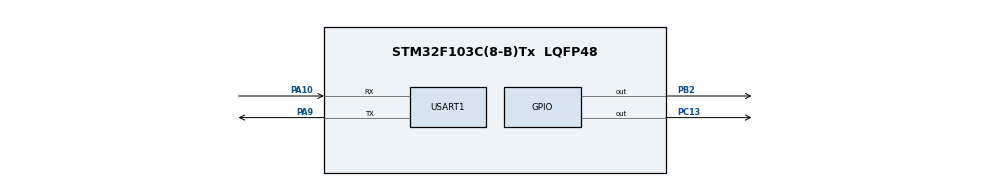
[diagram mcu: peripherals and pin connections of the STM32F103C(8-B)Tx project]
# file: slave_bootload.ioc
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Mcu.Family=STM32F1
Mcu.Name=STM32F103C(8-B)Tx
Mcu.Package=LQFP48
NVIC.PriorityGroup=NVIC_PRIORITYGROUP_4
NVIC.USART1_IRQn=true\:0\:0\:false\:false\:true\:true\:true\:true
PA10.Mode=Asynchronous
PA10.Signal=USART1_RX
PA13.Mode=Serial_Wire
PA13.Signal=SYS_JTMS-SWDIO
PA14.Mode=Serial_Wire
PA14.Signal=SYS_JTCK-SWCLK
PA9.Mode=Asynchronous
PA9.Signal=USART1_TX
PB2.Signal=GPIO_Output
PC13-TAMPER-RTC.Signal=GPIO_Output
PD0-OSC_IN.Mode=HSE-External-Oscillator
PD0-OSC_IN.Signal=RCC_OSC_IN
PD1-OSC_OUT.Mode=HSE-External-Oscillator
PD1-OSC_OUT.Signal=RCC_OSC_OUT
ProjectManager.HeapSize=0x200
ProjectManager.StackSize=0x400
ProjectManager.TargetToolchain=STM32CubeIDE
RCC.APB1Freq_Value=8000000
RCC.APB2Freq_Value=8000000
USART1.VirtualMode=VM_ASYNC
board=custom

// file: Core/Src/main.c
/* USER CODE BEGIN Header */
/**
  ******************************************************************************
  * @file           : main.c
  * @brief          : Main program body
  ******************************************************************************
  */
/* USER CODE END Header */

#include "main.h"

UART_HandleTypeDef huart1;

/* USER CODE BEGIN PV */
volatile uint8_t rx_byte = 0;           // ✅ 1 байт для приёма команды
volatile uint8_t cmd_received = 0;      // ✅ Флаг: команда получена

// ✅ Колбэк: вызывается при завершении приёма 1 байта
void HAL_UART_RxCpltCallback(UART_HandleTypeDef *huart){
    if(huart->Instance == USART1){
        cmd_received = 1;  // Сигнал главному циклу
        // ⚠️ Переармивание делаем в main(), а не здесь!
    }
}

// ✅ Чтение из Flash (безопасное)
void read_flash_safe(uint8_t *buffer, uint32_t address, uint32_t size){
    // Проверяем, что адрес в пределах Flash
    if(address >= 0x08000000 && address + size <= 0x08000000 + 64*1024){ // 64KB Flash для F103C8
        for(uint32_t i = 0; i < size; ++i){
            buffer[i] = *(__IO uint8_t*)(address + i);
        }
    } else {
        // Заполняем нулями если адрес неверный
        for(uint32_t i = 0; i < size; ++i) buffer[i] = 0;
    }
}
/* USER CODE END PV */

void SystemClock_Config(void);
static void MX_GPIO_Init(void);
static void MX_USART1_UART_Init(void);

/* USER CODE BEGIN PFP */
void Debug_LED_Toggle(void);
/* USER CODE END PFP */

/* USER CODE BEGIN 0 */

void Debug_LED_Toggle(void){
    HAL_GPIO_TogglePin(GPIOB, GPIO_PIN_2);
}
/* USER CODE END 0 */

int main(void)
{
  HAL_Init();
  SystemClock_Config();
  MX_GPIO_Init();
  MX_USART1_UART_Init();

  /* USER CODE BEGIN 2 */

  // ✅ Тестовое мигание при старте (проверка, что код работает)
  for(int i = 0; i < 3; i++){
      HAL_GPIO_WritePin(GPIOB, GPIO_PIN_2, GPIO_PIN_SET);
      HAL_Delay(200);
      HAL_GPIO_WritePin(GPIOB, GPIO_PIN_2, GPIO_PIN_RESET);
      HAL_Delay(200);
  }

  // ✅ Запуск приёма первой команды
  HAL_UART_Receive_IT(&huart1, (uint8_t*)&rx_byte, 1);

  uint8_t ack_response = 0x22;  // Ответ для рукопожатия
  uint8_t tx_buffer[64];        // Буфер для передачи
  /* USER CODE END 2 */

  while (1)
  {
    /* USER CODE END WHILE */

    /* USER CODE BEGIN 3 */

    if(cmd_received == 1){
        cmd_received = 0;  // ✅ Сброс флага

        // ✅ СРАЗУ переармиваем приём следующей команды (КРИТИЧНО!)
        HAL_UART_Receive_IT(&huart1, (uint8_t*)&rx_byte, 1);

        // ✅ Отладка: мигнём светодиодом при получении любой команды
        Debug_LED_Toggle();

        // === Обработка команды 0x01 ===
        if(rx_byte == 0x01){

            // ✅ Мигнём ещё раз для визуального подтверждения
            Debug_LED_Toggle();

            // 1. Отправляем подтверждение (0x22)
            if(HAL_UART_Transmit(&huart1, &ack_response, 1, 100) != HAL_OK){
                // Обработка ошибки передачи (опционально)
                Debug_LED_Toggle(); // Дополнительная индикация ошибки
            }
            HAL_Delay(10);  // Небольшая пауза между пакетами

            // 2. Читаем данные из Flash (или замените на свои данные)
            read_flash_safe(tx_buffer, 0x08000000, 64);

            // 3. Отправляем буфер
            if(HAL_UART_Transmit(&huart1, tx_buffer, 64, 500) != HAL_OK){
                Debug_LED_Toggle(); // Индикация ошибки
            }

            // 4. Финальное мигание после успешной отправки
            Debug_LED_Toggle();
            HAL_Delay(50);
            Debug_LED_Toggle();
        }
        // === Можно добавить другие команды ===
        // else if(rx_byte == 0x02){ ... }
    }

    // Фоновая задача: периодическое мигание "жив ли контроллер"
    static uint32_t last_heartbeat = 0;
    if(HAL_GetTick() - last_heartbeat > 1000){
        last_heartbeat = HAL_GetTick();
        // Слабое мигание раз в секунду (не мешает основной логике)
        HAL_GPIO_TogglePin(GPIOC, GPIO_PIN_13);  // Если есть светодиод на PC13
    }

    /* USER CODE END 3 */
  }
}

void SystemClock_Config(void)
{
  RCC_OscInitTypeDef RCC_OscInitStruct = {0};
  RCC_ClkInitTypeDef RCC_ClkInitStruct = {0};

  RCC_OscInitStruct.OscillatorType = RCC_OSCILLATORTYPE_HSI;
  RCC_OscInitStruct.HSIState = RCC_HSI_ON;
  RCC_OscInitStruct.HSICalibrationValue = RCC_HSICALIBRATION_DEFAULT;
  RCC_OscInitStruct.PLL.PLLState = RCC_PLL_NONE;
  if (HAL_RCC_OscConfig(&RCC_OscInitStruct) != HAL_OK)
  {
    Error_Handler();
  }

  RCC_ClkInitStruct.ClockType = RCC_CLOCKTYPE_HCLK|RCC_CLOCKTYPE_SYSCLK
                              |RCC_CLOCKTYPE_PCLK1|RCC_CLOCKTYPE_PCLK2;
  RCC_ClkInitStruct.SYSCLKSource = RCC_SYSCLKSOURCE_HSI;
  RCC_ClkInitStruct.AHBCLKDivider = RCC_SYSCLK_DIV1;
  RCC_ClkInitStruct.APB1CLKDivider = RCC_HCLK_DIV1;
  RCC_ClkInitStruct.APB2CLKDivider = RCC_HCLK_DIV1;

  if (HAL_RCC_ClockConfig(&RCC_ClkInitStruct, FLASH_LATENCY_0) != HAL_OK)
  {
    Error_Handler();
  }
}

static void MX_USART1_UART_Init(void)
{
  huart1.Instance = USART1;
  huart1.Init.BaudRate = 115200;
  huart1.Init.WordLength = UART_WORDLENGTH_8B;
  huart1.Init.StopBits = UART_STOPBITS_1;
  huart1.Init.Parity = UART_PARITY_NONE;
  huart1.Init.Mode = UART_MODE_TX_RX;
  huart1.Init.HwFlowCtl = UART_HWCONTROL_NONE;
  huart1.Init.OverSampling = UART_OVERSAMPLING_16;

  if (HAL_UART_Init(&huart1) != HAL_OK)
  {
    Error_Handler();
  }
}

static void MX_GPIO_Init(void)
{
  GPIO_InitTypeDef GPIO_InitStruct = {0};

  __HAL_RCC_GPIOC_CLK_ENABLE();
  __HAL_RCC_GPIOA_CLK_ENABLE();
  __HAL_RCC_GPIOB_CLK_ENABLE();  // ✅ Обязательно для PB2!

  // LED на PC13 (если есть)
  GPIO_InitStruct.Pin = GPIO_PIN_13;
  GPIO_InitStruct.Mode = GPIO_MODE_OUTPUT_PP;
  GPIO_InitStruct.Pull = GPIO_NOPULL;
  GPIO_InitStruct.Speed = GPIO_SPEED_FREQ_LOW;
  HAL_GPIO_Init(GPIOC, &GPIO_InitStruct);
  HAL_GPIO_WritePin(GPIOC, GPIO_PIN_13, GPIO_PIN_RESET);

  // ✅ LED на PB2 (основной индикатор)
  GPIO_InitStruct.Pin = GPIO_PIN_2;
  GPIO_InitStruct.Mode = GPIO_MODE_OUTPUT_PP;
  GPIO_InitStruct.Pull = GPIO_NOPULL;
  GPIO_InitStruct.Speed = GPIO_SPEED_FREQ_LOW;
  HAL_GPIO_Init(GPIOB, &GPIO_InitStruct);

  // ✅ Начальное состояние: светодиод выключен
  HAL_GPIO_WritePin(GPIOB, GPIO_PIN_2, GPIO_PIN_RESET);
}

/**
  * @brief  Error Handler
  */
void Error_Handler(void)
{
  __disable_irq();
  // ✅ Индикация ошибки: быстрое мигание
  while (1)
  {
    HAL_GPIO_TogglePin(GPIOB, GPIO_PIN_2);
    HAL_Delay(100);
  }
}
